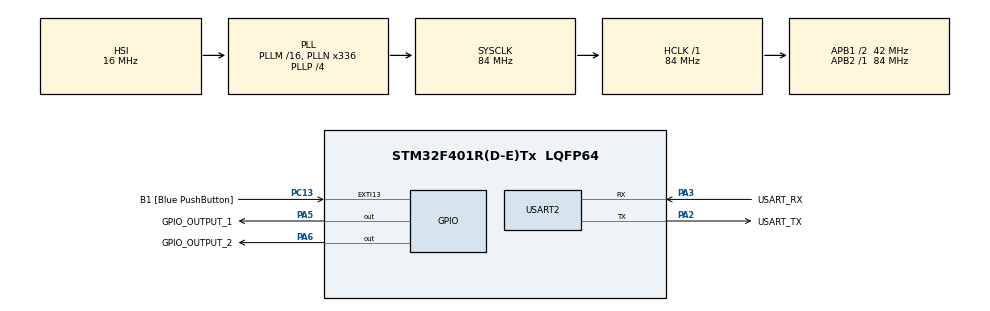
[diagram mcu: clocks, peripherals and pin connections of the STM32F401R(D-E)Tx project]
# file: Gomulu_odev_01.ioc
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Mcu.Family=STM32F4
Mcu.Name=STM32F401R(D-E)Tx
Mcu.Package=LQFP64
NVIC.PriorityGroup=NVIC_PRIORITYGROUP_4
PA13.GPIO_Label=TMS
PA13.Mode=Trace_Asynchronous_SW
PA13.Signal=SYS_JTMS-SWDIO
PA14.GPIO_Label=TCK
PA14.Mode=Trace_Asynchronous_SW
PA14.Signal=SYS_JTCK-SWCLK
PA2.GPIO_Label=USART_TX
PA2.GPIO_Mode=GPIO_MODE_AF_PP
PA2.GPIO_PuPd=GPIO_NOPULL
PA2.GPIO_Speed=GPIO_SPEED_FREQ_LOW
PA2.Mode=Asynchronous
PA2.Signal=USART2_TX
PA3.GPIO_Label=USART_RX
PA3.GPIO_Mode=GPIO_MODE_AF_PP
PA3.GPIO_PuPd=GPIO_NOPULL
PA3.GPIO_Speed=GPIO_SPEED_FREQ_LOW
PA3.Mode=Asynchronous
PA3.Signal=USART2_RX
PA5.GPIO_Label=GPIO_OUTPUT_1
PA5.Signal=GPIO_Output
PA6.GPIO_Label=GPIO_OUTPUT_2
PA6.Signal=GPIO_Output
PB3.GPIO_Label=SWO
PB3.Mode=Trace_Asynchronous_SW
PB3.Signal=SYS_JTDO-SWO
PC13-ANTI_TAMP.GPIO_Label=B1 [Blue PushButton]
PC13-ANTI_TAMP.GPIO_ModeDefaultEXTI=GPIO_MODE_IT_FALLING
PC13-ANTI_TAMP.GPIO_PuPd=GPIO_NOPULL
PC13-ANTI_TAMP.Signal=GPXTI13
PC14-OSC32_IN.Mode=LSE-External-Oscillator
PC14-OSC32_IN.Signal=RCC_OSC32_IN
PC15-OSC32_OUT.Mode=LSE-External-Oscillator
PC15-OSC32_OUT.Signal=RCC_OSC32_OUT
PH0\ -\ OSC_IN.Mode=HSE-External-Clock-Source
PH0\ -\ OSC_IN.Signal=RCC_OSC_IN
PH1\ -\ OSC_OUT.Mode=HSE-External-Clock-Source
PH1\ -\ OSC_OUT.Signal=RCC_OSC_OUT
ProjectManager.HeapSize=0x200
ProjectManager.StackSize=0x400
ProjectManager.TargetToolchain=STM32CubeIDE
RCC.48MHZClocksFreq_Value=48000000
RCC.AHBFreq_Value=84000000
RCC.APB1CLKDivider=RCC_HCLK_DIV2
RCC.APB1Freq_Value=42000000
RCC.APB1TimFreq_Value=84000000
RCC.APB2Freq_Value=84000000
RCC.APB2TimFreq_Value=84000000
RCC.CortexFreq_Value=84000000
RCC.HCLKFreq_Value=84000000
RCC.HSE_VALUE=8000000
RCC.HSI_VALUE=16000000
RCC.PLLN=336
RCC.PLLP=RCC_PLLP_DIV4
RCC.PLLQ=7
RCC.SYSCLKFreq_VALUE=84000000
RCC.SYSCLKSource=RCC_SYSCLKSOURCE_PLLCLK
RCC.VCOOutputFreq_Value=336000000
USART2.VirtualMode=VM_ASYNC
board=NUCLEO-F401RE

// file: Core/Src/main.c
/* USER CODE BEGIN Header */
/**
  ******************************************************************************
  * @file           : main.c
  * @brief          : İTÜ Rover Takımı - Ödev 6: UART ile GPIO Kontrolü
  ******************************************************************************
  */
/* USER CODE END Header */

#include "main.h" // HAL kütüphanesi ve pin etiketlerinin bulunduğu başlık dosyası

UART_HandleTypeDef huart2; // USART2 çevresel birimini yöneten HAL yapısı

/* USER CODE BEGIN PV */
// Serial terminalden gelecek 2 karakterlik mesajı saklayacak olan 2 elemanlı bayt dizisi
uint8_t rx_buffer[2];
/* USER CODE END PV */

void SystemClock_Config(void);
static void MX_GPIO_Init(void);
static void MX_USART2_UART_Init(void);

/* USER CODE BEGIN 0 */
// Pinleri gelen mesaja göre güncelleyen yardımcı kontrol fonksiyonu
void Process_UART_Command(uint8_t *cmd)
{
    // --- 1. PIN KONTROLÜ (Dizinin 0. indeksi -> PA5 / GPIO_OUTPUT_1) ---
    switch (cmd[0]) // Gelen mesajın ilk karakteri incelenir
    {
        case '0': // Karakter '0' ise
            HAL_GPIO_WritePin(GPIOA, GPIO_OUTPUT_1_Pin, GPIO_PIN_RESET); // 1. pini LOW (0V) seviyesine çek
            break; // Anahtardan çık

        case '1': // Karakter '1' ise
            HAL_GPIO_WritePin(GPIOA, GPIO_OUTPUT_1_Pin, GPIO_PIN_SET); // 1. pini HIGH (3.3V) seviyesine çek
            break; // Anahtardan çık

        case '2': // Karakter '2' ise
            HAL_GPIO_TogglePin(GPIOA, GPIO_OUTPUT_1_Pin); // 1. pinin mevcut dijital durumunu tersle (TOGGLE)
            break; // Anahtardan çık

        default: // '0', '1' veya '2' dışında bir karakter geldiyse
            break; // Herhangi bir işlem yapmadan geç
    }

    // --- 2. PIN KONTROLÜ (Dizinin 1. indeksi -> PA6 / GPIO_OUTPUT_2) ---
    switch (cmd[1]) // Gelen mesajın ikinci karakteri incelenir
    {
        case '0': // Karakter '0' ise
            HAL_GPIO_WritePin(GPIOA, GPIO_OUTPUT_2_Pin, GPIO_PIN_RESET); // 2. pini LOW (0V) seviyesine çek
            break; // Anahtardan çık

        case '1': // Karakter '1' ise
            HAL_GPIO_WritePin(GPIOA, GPIO_OUTPUT_2_Pin, GPIO_PIN_SET); // 2. pini HIGH (3.3V) seviyesine çek
            break; // Anahtardan çık

        case '2': // Karakter '2' ise
            HAL_GPIO_TogglePin(GPIOA, GPIO_OUTPUT_2_Pin); // 2. pinin mevcut dijital durumunu tersle (TOGGLE)
            break; // Anahtardan çık

        default: // '0', '1' veya '2' dışında bir karakter geldiyse
            break; // Herhangi bir işlem yapmadan geç
    }
}
/* USER CODE END 0 */

/**
  * @brief  Uygulama ana giriş noktası
  * @retval int
  */
int main(void)
{

  /* MCU Configuration--------------------------------------------------------*/

  /* Tüm çevresel birimleri sıfırlar, Flash arabirimini ve Systick zamanlayıcısını başlatır */
  HAL_Init();

  /* Sistem saat hızını yapılandırır */
  SystemClock_Config();

  /* Konfigüre edilen çevresel birimleri (GPIO ve USART2) başlatır */
  MX_GPIO_Init();
  MX_USART2_UART_Init();

  /* Sonsuz döngü */
  while (1)
  {

    /* USER CODE BEGIN 3 */
    // USART2 üzerinden tam 2 baytlık veri gelene kadar sonsuz zaman aşımı (HAL_MAX_DELAY) ile bekle
    if (HAL_UART_Receive(&huart2, rx_buffer, 2, HAL_MAX_DELAY) == HAL_OK)
    {
        // Veri başarıyla alındıysa ayrıştırma ve kontrol fonksiyonunu çağır
        Process_UART_Command(rx_buffer);
    }
  }
  /* USER CODE END 3 */
}

/**
  * @brief Sistem Saat Konfigürasyonu
  */
void SystemClock_Config(void)
{
  RCC_OscInitTypeDef RCC_OscInitStruct = {0};
  RCC_ClkInitTypeDef RCC_ClkInitStruct = {0};

  __HAL_RCC_PWR_CLK_ENABLE();
  __HAL_PWR_VOLTAGESCALING_CONFIG(PWR_REGULATOR_VOLTAGE_SCALE2);

  RCC_OscInitStruct.OscillatorType = RCC_OSCILLATORTYPE_HSI;
  RCC_OscInitStruct.HSIState = RCC_HSI_ON;
  RCC_OscInitStruct.HSICalibrationValue = RCC_HSICALIBRATION_DEFAULT;
  RCC_OscInitStruct.PLL.PLLState = RCC_PLL_ON;
  RCC_OscInitStruct.PLL.PLLSource = RCC_PLLSOURCE_HSI;
  RCC_OscInitStruct.PLL.PLLM = 16;
  RCC_OscInitStruct.PLL.PLLN = 336;
  RCC_OscInitStruct.PLL.PLLP = RCC_PLLP_DIV4;
  RCC_OscInitStruct.PLL.PLLQ = 7;
  if (HAL_RCC_OscConfig(&RCC_OscInitStruct) != HAL_OK)
  {
    Error_Handler();
  }

  RCC_ClkInitStruct.ClockType = RCC_CLOCKTYPE_HCLK|RCC_CLOCKTYPE_SYSCLK
                              |RCC_CLOCKTYPE_PCLK1|RCC_CLOCKTYPE_PCLK2;
  RCC_ClkInitStruct.SYSCLKSource = RCC_SYSCLKSOURCE_PLLCLK;
  RCC_ClkInitStruct.AHBCLKDivider = RCC_SYSCLK_DIV1;
  RCC_ClkInitStruct.APB1CLKDivider = RCC_HCLK_DIV2;
  RCC_ClkInitStruct.APB2CLKDivider = RCC_HCLK_DIV1;

  if (HAL_RCC_ClockConfig(&RCC_ClkInitStruct, FLASH_LATENCY_2) != HAL_OK)
  {
    Error_Handler();
  }
}

/**
  * @brief USART2 Başlatma Fonksiyonu
  */
static void MX_USART2_UART_Init(void)
{
  huart2.Instance = USART2;
  huart2.Init.BaudRate = 115200;
  huart2.Init.WordLength = UART_WORDLENGTH_8B;
  huart2.Init.StopBits = UART_STOPBITS_1;
  huart2.Init.Parity = UART_PARITY_NONE;
  huart2.Init.Mode = UART_MODE_TX_RX;
  huart2.Init.HwFlowCtl = UART_HWCONTROL_NONE;
  huart2.Init.OverSampling = UART_OVERSAMPLING_16;
  if (HAL_UART_Init(&huart2) != HAL_OK)
  {
    Error_Handler();
  }
}

/**
  * @brief GPIO Başlatma Fonksiyonu
  */
static void MX_GPIO_Init(void)
{
  GPIO_InitTypeDef GPIO_InitStruct = {0};

  /* Port saat sinyallerini aktif et */
  __HAL_RCC_GPIOC_CLK_ENABLE();
  __HAL_RCC_GPIOH_CLK_ENABLE();
  __HAL_RCC_GPIOA_CLK_ENABLE();
  __HAL_RCC_GPIOB_CLK_ENABLE();

  /* Başlangıçta pin çıkış seviyelerini LOW yap */
  HAL_GPIO_WritePin(GPIOA, GPIO_OUTPUT_1_Pin|GPIO_OUTPUT_2_Pin, GPIO_PIN_RESET);

  /* B1 buton pini konfigürasyonu */
  GPIO_InitStruct.Pin = B1_Pin;
  GPIO_InitStruct.Mode = GPIO_MODE_IT_FALLING;
  GPIO_InitStruct.Pull = GPIO_NOPULL;
  HAL_GPIO_Init(B1_GPIO_Port, &GPIO_InitStruct);

  /* GPIO_OUTPUT_1 ve GPIO_OUTPUT_2 pinlerinin konfigürasyonu */
  GPIO_InitStruct.Pin = GPIO_OUTPUT_1_Pin|GPIO_OUTPUT_2_Pin;
  GPIO_InitStruct.Mode = GPIO_MODE_OUTPUT_PP;
  GPIO_InitStruct.Pull = GPIO_NOPULL;
  GPIO_InitStruct.Speed = GPIO_SPEED_FREQ_LOW;
  HAL_GPIO_Init(GPIOA, &GPIO_InitStruct);
}

/**
  * @brief Hata Durumu Fonksiyonu
  */
void Error_Handler(void)
{
  __disable_irq();
  while (1)
  {
  }
}
